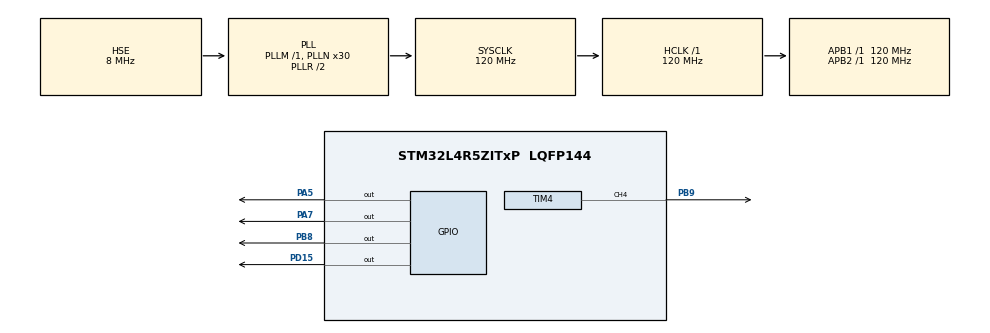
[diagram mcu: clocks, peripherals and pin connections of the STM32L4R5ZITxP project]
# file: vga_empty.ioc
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Dma.Request0=TIM4_UP
Dma.Request1=TIM2_UP
Dma.TIM2_UP.1.Direction=DMA_MEMORY_TO_PERIPH
Dma.TIM2_UP.1.EventEnable=DISABLE
Dma.TIM2_UP.1.Instance=DMA1_Channel2
Dma.TIM2_UP.1.MemDataAlignment=DMA_MDATAALIGN_BYTE
Dma.TIM2_UP.1.MemInc=DMA_MINC_ENABLE
Dma.TIM2_UP.1.Mode=DMA_CIRCULAR
Dma.TIM2_UP.1.PeriphDataAlignment=DMA_PDATAALIGN_BYTE
Dma.TIM2_UP.1.PeriphInc=DMA_PINC_DISABLE
Dma.TIM2_UP.1.Polarity=HAL_DMAMUX_REQUEST_GEN_RISING
Dma.TIM2_UP.1.Priority=DMA_PRIORITY_VERY_HIGH
Dma.TIM2_UP.1.RequestNumber=1
Dma.TIM2_UP.1.SignalID=NONE
Dma.TIM2_UP.1.SyncEnable=DISABLE
Dma.TIM2_UP.1.SyncPolarity=HAL_DMAMUX_SYNC_NO_EVENT
Dma.TIM2_UP.1.SyncRequestNumber=1
Dma.TIM2_UP.1.SyncSignalID=NONE
Dma.TIM4_UP.0.Direction=DMA_MEMORY_TO_PERIPH
Dma.TIM4_UP.0.EventEnable=DISABLE
Dma.TIM4_UP.0.Instance=DMA1_Channel1
Dma.TIM4_UP.0.MemDataAlignment=DMA_MDATAALIGN_WORD
Dma.TIM4_UP.0.MemInc=DMA_MINC_DISABLE
Dma.TIM4_UP.0.Mode=DMA_CIRCULAR
Dma.TIM4_UP.0.PeriphDataAlignment=DMA_PDATAALIGN_WORD
Dma.TIM4_UP.0.PeriphInc=DMA_PINC_DISABLE
Dma.TIM4_UP.0.Polarity=HAL_DMAMUX_REQUEST_GEN_RISING
Dma.TIM4_UP.0.Priority=DMA_PRIORITY_VERY_HIGH
Dma.TIM4_UP.0.RequestNumber=1
Dma.TIM4_UP.0.SignalID=NONE
Dma.TIM4_UP.0.SyncEnable=DISABLE
Dma.TIM4_UP.0.SyncPolarity=HAL_DMAMUX_SYNC_NO_EVENT
Dma.TIM4_UP.0.SyncRequestNumber=1
Dma.TIM4_UP.0.SyncSignalID=NONE
Mcu.Family=STM32L4
Mcu.Name=STM32L4R5ZITxP
Mcu.Package=LQFP144
NVIC.DMA1_Channel1_IRQn=true\:0\:0\:false\:false\:true\:false\:true\:true
NVIC.DMA1_Channel2_IRQn=true\:0\:0\:false\:false\:true\:false\:true\:true
NVIC.PriorityGroup=NVIC_PRIORITYGROUP_4
NVIC.TIM4_IRQn=true\:0\:0\:false\:false\:true\:true\:true\:true
PA0.Signal=S_TIM2_CH1
PA1.Signal=ADCx_IN6
PA10.Signal=USB_OTG_FS_ID
PA13\ (JTMS/SWDIO).Signal=SYS_JTMS-SWDIO
PA14\ (JTCK/SWCLK).Signal=SYS_JTCK-SWCLK
PA3.Signal=ADCx_IN8
PA4.Signal=SPI1_NSS
PA5.GPIO_Speed=GPIO_SPEED_FREQ_VERY_HIGH
PA5.Signal=GPIO_Output
PA6.Signal=SPI1_MISO
PA7.GPIO_Speed=GPIO_SPEED_FREQ_VERY_HIGH
PA7.Signal=GPIO_Output
PA8.Signal=USB_OTG_FS_SOF
PA9.Signal=USB_OTG_FS_VBUS
PB0.Signal=S_TIM3_CH3
PB1.Signal=ADCx_IN16
PB10.Signal=S_TIM2_CH3
PB12.Signal=SAI2_FS_A
PB13.Signal=SAI2_SCK_A
PB14.Signal=S_TIM15_CH1
PB15.Signal=SAI2_SD_A
PB2.Signal=COMP1_INP
PB3\ (JTDO/TRACESWO).Signal=SPI3_SCK
PB4\ (NJTRST).Signal=SPI3_MISO
PB5.Signal=SPI3_MOSI
PB6.Signal=COMP2_INP
PB8.GPIO_Speed=GPIO_SPEED_FREQ_VERY_HIGH
PB8.Signal=GPIO_Output
PB9.Signal=S_TIM4_CH4
PC0.Signal=ADCx_IN1
PC1.Signal=ADCx_IN2
PC10.Signal=SDMMC1_D2
PC11.Signal=SDMMC1_D3
PC12.Signal=SDMMC1_CK
PC13.Signal=SYS_WKUP2
PC14-OSC32_IN\ (PC14).Signal=RCC_OSC32_IN
PC15-OSC32_OUT\ (PC15).Signal=RCC_OSC32_OUT
PC2.Signal=ADCx_IN3
PC3.Signal=ADCx_IN4
PC4.Signal=ADCx_IN13
PC5.Signal=ADCx_IN14
PC6.Signal=SAI2_MCLK_A
PC7.Signal=S_TIM3_CH2
PC8.Signal=SDMMC1_D0
PC9.Signal=SDMMC1_D1
PD0.Signal=CAN1_RX
PD14.Signal=S_TIM4_CH3
PD15.GPIO_Speed=GPIO_SPEED_FREQ_VERY_HIGH
PD15.Signal=GPIO_Output
PD2.Signal=SDMMC1_CMD
PD3.Signal=USART2_CTS
PD4.Signal=USART2_RTS
PD5.Signal=USART2_TX
PD6.Signal=USART2_RX
PD8.Signal=USART3_TX
PD9.Signal=USART3_RX
PE0.Signal=S_TIM4_ETR
PE10.Signal=TIM1_CH2N
PE11.Signal=S_TIM1_CH2
PE12.Signal=TIM1_CH3N
PE13.Signal=S_TIM1_CH3
PE14.Signal=TIM1_BKIN2
PE15.Signal=TIM1_BKIN
PE2.Signal=SAI1_MCLK_A
PE3.Signal=SAI1_SD_B
PE7.Signal=S_TIM1_ETR
PE8.Signal=TIM1_CH1N
PE9.Signal=S_TIM1_CH1
PF0.Signal=I2C2_SDA
PF1.Signal=I2C2_SCL
PF2.Signal=I2C2_SMBA
PF7.Signal=SAI1_MCLK_B
PG7.Signal=LPUART1_TX
PG8.Signal=LPUART1_RX
PH0-OSC_IN\ (PH0).Signal=RCC_OSC_IN
PH1-OSC_OUT\ (PH1).Signal=RCC_OSC_OUT
ProjectManager.HeapSize=0x200
ProjectManager.StackSize=0x400
ProjectManager.TargetToolchain=STM32CubeIDE
RCC.ADCFreq_Value=64000000
RCC.AHBFreq_Value=120000000
RCC.APB1Freq_Value=120000000
RCC.APB1TimFreq_Value=120000000
RCC.APB2Freq_Value=120000000
RCC.APB2TimFreq_Value=120000000
RCC.CortexFreq_Value=120000000
RCC.HCLKFreq_Value=120000000
RCC.HSE_VALUE=8000000
RCC.HSI48_VALUE=48000000
RCC.HSI_VALUE=16000000
RCC.LSE_VALUE=32768
RCC.MSI_VALUE=4000000
RCC.PLLN=15
RCC.PLLSourceVirtual=RCC_PLLSOURCE_HSI
RCC.SYSCLKFreq_VALUE=120000000
RCC.SYSCLKSource=RCC_SYSCLKSOURCE_PLLCLK
RCC.USBFreq_Value=64000000
RCC.VCOOutputFreq_Value=240000000
SH.ADCx_IN1.0=ADC1_IN1
SH.ADCx_IN13.0=ADC1_IN13
SH.ADCx_IN14.0=ADC1_IN14
SH.ADCx_IN16.0=ADC1_IN16
SH.ADCx_IN2.0=ADC1_IN2
SH.ADCx_IN3.0=ADC1_IN3
SH.ADCx_IN4.0=ADC1_IN4
SH.ADCx_IN6.0=ADC1_IN6
SH.ADCx_IN8.0=ADC1_IN8
SH.S_TIM15_CH1.0=TIM15_CH1
SH.S_TIM1_CH1.0=TIM1_CH1
SH.S_TIM1_CH2.0=TIM1_CH2
SH.S_TIM1_CH3.0=TIM1_CH3
SH.S_TIM1_ETR.0=TIM1_ETR
SH.S_TIM2_CH1.0=TIM2_CH1
SH.S_TIM2_CH3.0=TIM2_CH3
SH.S_TIM3_CH2.0=TIM3_CH2
SH.S_TIM3_CH3.0=TIM3_CH3
SH.S_TIM4_CH3.0=TIM4_CH3
SH.S_TIM4_CH4.0=TIM4_CH4,PWM Generation4 CH4
SH.S_TIM4_ETR.0=TIM4_ETR
TIM2.Period=23
TIM4.Channel-PWM\ Generation4\ CH4=TIM_CHANNEL_4
TIM4.Period=3167
VP_TIM2_VS_ClockSourceINT.Mode=Internal
board=NUCLEO-L4R5ZI-P

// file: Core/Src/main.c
/* USER CODE BEGIN Header */
/**
  ******************************************************************************
  * @file           : main.c
  * @brief          : Main program body
  ******************************************************************************
  * @attention
  *
  * Copyright (c) 2026 STMicroelectronics.
  * All rights reserved.
  *
  * This software is licensed under terms that can be found in the LICENSE file
  * in the root directory of this software component.
  * If no LICENSE file comes with this software, it is provided AS-IS.
  *
  ******************************************************************************
  */
/* USER CODE END Header */
#include "main.h"

/* USER CODE BEGIN Includes */
#include "vga_graphics.h"

/* USER CODE END Includes */

/* USER CODE BEGIN PD */
#define VGA_VSYNC_PORT GPIOB
#define VGA_VSYNC_PIN  GPIO_PIN_8
#define HSYNC_PULSE_TICKS 384U

/* USER CODE END PD */

TIM_HandleTypeDef htim2;
TIM_HandleTypeDef htim4;
DMA_HandleTypeDef hdma_tim2_up;

void SystemClock_Config(void);
static void MX_GPIO_Init(void);
static void MX_DMA_Init(void);
static void MX_TIM2_Init(void);
static void MX_TIM4_Init(void);
/* USER CODE BEGIN PFP */
static void VGA_InitTestPatternBuffers(void);
static void VGA_StartVideo(void);
static const uint32_t *VGA_GetVisibleLineBuffer(uint16_t line);

/* USER CODE END PFP */

/* USER CODE BEGIN 0 */
#define COLOR_BLACK VGA_COLOR_BLACK
#define COLOR_RED VGA_COLOR_RED
#define COLOR_GREEN VGA_COLOR_GREEN
#define COLOR_YELLOW VGA_COLOR_YELLOW

#define H_SYNC VGA_H_SYNC
#define H_BACKPORCH VGA_H_BACKPORCH
#define H_VISIBLE VGA_H_VISIBLE
#define H_FRONTPORCH VGA_H_FRONTPORCH
#define H_PIXEL VGA_H_PIXEL
#define H_VISIBLE_START VGA_H_VISIBLE_START
#define H_VISIBLE_END VGA_H_VISIBLE_END

#define V_SYNC_LINES VGA_V_SYNC_LINES
#define V_BACKPORCH_LINES VGA_V_BACKPORCH_LINES
#define V_VISIBLE_LINES VGA_V_VISIBLE_LINES
#define V_FRONTPORCH_LINES VGA_V_FRONTPORCH_LINES
#define V_TOTAL_LINES VGA_V_TOTAL_LINES
#define V_VISIBLE_LINE_START VGA_V_VISIBLE_LINE_START
#define V_VISIBLE_LINE_END VGA_V_VISIBLE_LINE_END

#define VGA_USE_HSE_BYPASS_CLOCK 0U /* Set to 1 only after routing the Nucleo HSE input to ST-LINK MCO. */
#define H_PHASE_OFFSET_SAMPLES 0
#define VGA_USE_TIM2_HARD_SYNC 0U
#define TIM2_LINE_SYNC_TRIGGER TIM_TS_ITR3

volatile uint16_t current_line = 0;
static const uint32_t *active_line_src = 0;
/* USER CODE END 0 */

int main(void)
{

  /* MCU Configuration--------------------------------------------------------*/

  /* Reset of all peripherals, Initializes the Flash interface and the Systick. */
  HAL_Init();

  /* Configure the system clock */
  SystemClock_Config();

  /* Initialize all configured peripherals */
  MX_GPIO_Init();
  MX_DMA_Init();
  MX_TIM2_Init();
  MX_TIM4_Init();
  /* USER CODE BEGIN 2 */
  VGA_InitTestPatternBuffers();
  VGA_StartVideo();

  /* USER CODE END 2 */

  /* Infinite loop */
  while (1)
  {

  }
}

void SystemClock_Config(void)
{
  RCC_OscInitTypeDef RCC_OscInitStruct = {0};
  RCC_ClkInitTypeDef RCC_ClkInitStruct = {0};

  /** Configure the main internal regulator output voltage
  */
  if (HAL_PWREx_ControlVoltageScaling(PWR_REGULATOR_VOLTAGE_SCALE1_BOOST) != HAL_OK)
  {
    Error_Handler();
  }

  /** Initializes the RCC Oscillators according to the specified parameters
  * in the RCC_OscInitTypeDef structure.
  */
#if VGA_USE_HSE_BYPASS_CLOCK
  RCC_OscInitStruct.OscillatorType = RCC_OSCILLATORTYPE_HSE;
  RCC_OscInitStruct.HSEState = RCC_HSE_BYPASS;
  RCC_OscInitStruct.PLL.PLLSource = RCC_PLLSOURCE_HSE;
  RCC_OscInitStruct.PLL.PLLM = 1;
  RCC_OscInitStruct.PLL.PLLN = 30;
#else
  RCC_OscInitStruct.OscillatorType = RCC_OSCILLATORTYPE_HSI;
  RCC_OscInitStruct.HSIState = RCC_HSI_ON;
  RCC_OscInitStruct.HSICalibrationValue = RCC_HSICALIBRATION_DEFAULT;
  RCC_OscInitStruct.PLL.PLLSource = RCC_PLLSOURCE_HSI;
  RCC_OscInitStruct.PLL.PLLM = 1;
  RCC_OscInitStruct.PLL.PLLN = 15;
#endif
  RCC_OscInitStruct.PLL.PLLState = RCC_PLL_ON;
  RCC_OscInitStruct.PLL.PLLP = RCC_PLLP_DIV2;
  RCC_OscInitStruct.PLL.PLLQ = RCC_PLLQ_DIV2;
  RCC_OscInitStruct.PLL.PLLR = RCC_PLLR_DIV2;
  if (HAL_RCC_OscConfig(&RCC_OscInitStruct) != HAL_OK)
  {
    Error_Handler();
  }

  /** Initializes the CPU, AHB and APB buses clocks
  */
  RCC_ClkInitStruct.ClockType = RCC_CLOCKTYPE_HCLK|RCC_CLOCKTYPE_SYSCLK
                              |RCC_CLOCKTYPE_PCLK1|RCC_CLOCKTYPE_PCLK2;
  RCC_ClkInitStruct.SYSCLKSource = RCC_SYSCLKSOURCE_PLLCLK;
  RCC_ClkInitStruct.AHBCLKDivider = RCC_SYSCLK_DIV1;
  RCC_ClkInitStruct.APB1CLKDivider = RCC_HCLK_DIV1;
  RCC_ClkInitStruct.APB2CLKDivider = RCC_HCLK_DIV1;

  if (HAL_RCC_ClockConfig(&RCC_ClkInitStruct, FLASH_LATENCY_5) != HAL_OK)
  {
    Error_Handler();
  }
}

static void MX_TIM2_Init(void)
{

  TIM_ClockConfigTypeDef sClockSourceConfig = {0};
  TIM_MasterConfigTypeDef sMasterConfig = {0};
#if VGA_USE_TIM2_HARD_SYNC
  TIM_SlaveConfigTypeDef sSlaveConfig = {0};
#endif

  htim2.Instance = TIM2;
  htim2.Init.Prescaler = 0;
  htim2.Init.CounterMode = TIM_COUNTERMODE_UP;
  htim2.Init.Period = 23;
  htim2.Init.ClockDivision = TIM_CLOCKDIVISION_DIV1;
  htim2.Init.AutoReloadPreload = TIM_AUTORELOAD_PRELOAD_DISABLE;
  if (HAL_TIM_Base_Init(&htim2) != HAL_OK)
  {
    Error_Handler();
  }
  sClockSourceConfig.ClockSource = TIM_CLOCKSOURCE_INTERNAL;
  if (HAL_TIM_ConfigClockSource(&htim2, &sClockSourceConfig) != HAL_OK)
  {
    Error_Handler();
  }
#if VGA_USE_TIM2_HARD_SYNC
  /*
   * Optional hardware line-start alignment:
   * if the chosen ITR mapping is wrong on this board, TIM2 can fail to produce
   * visible output. Keep it switchable for bring-up.
   */
  sSlaveConfig.SlaveMode = TIM_SLAVEMODE_RESET;
  sSlaveConfig.InputTrigger = TIM2_LINE_SYNC_TRIGGER;
  if (HAL_TIM_SlaveConfigSynchro(&htim2, &sSlaveConfig) != HAL_OK)
  {
    Error_Handler();
  }
#endif
  sMasterConfig.MasterOutputTrigger = TIM_TRGO_RESET;
  sMasterConfig.MasterSlaveMode = TIM_MASTERSLAVEMODE_DISABLE;
  if (HAL_TIMEx_MasterConfigSynchronization(&htim2, &sMasterConfig) != HAL_OK)
  {
    Error_Handler();
  }

}

static void MX_TIM4_Init(void)
{

  TIM_MasterConfigTypeDef sMasterConfig = {0};
  TIM_OC_InitTypeDef sConfigOC = {0};

  htim4.Instance = TIM4;
  htim4.Init.Prescaler = 0;
  htim4.Init.CounterMode = TIM_COUNTERMODE_UP;
  htim4.Init.Period = 3167;
  htim4.Init.ClockDivision = TIM_CLOCKDIVISION_DIV1;
  htim4.Init.AutoReloadPreload = TIM_AUTORELOAD_PRELOAD_DISABLE;
  if (HAL_TIM_PWM_Init(&htim4) != HAL_OK)
  {
    Error_Handler();
  }
  sMasterConfig.MasterOutputTrigger = TIM_TRGO_UPDATE;
  sMasterConfig.MasterSlaveMode = TIM_MASTERSLAVEMODE_DISABLE;
  if (HAL_TIMEx_MasterConfigSynchronization(&htim4, &sMasterConfig) != HAL_OK)
  {
    Error_Handler();
  }
  sConfigOC.OCMode = TIM_OCMODE_PWM1;
  sConfigOC.Pulse = 0;
  sConfigOC.OCPolarity = TIM_OCPOLARITY_HIGH;
  sConfigOC.OCFastMode = TIM_OCFAST_DISABLE;
  if (HAL_TIM_PWM_ConfigChannel(&htim4, &sConfigOC, TIM_CHANNEL_4) != HAL_OK)
  {
    Error_Handler();
  }
  HAL_TIM_MspPostInit(&htim4);

}

static void MX_DMA_Init(void)
{

  /* DMA controller clock enable */
  __HAL_RCC_DMAMUX1_CLK_ENABLE();
  __HAL_RCC_DMA1_CLK_ENABLE();

  /* DMA interrupt init */
  /* DMA1_Channel2_IRQn interrupt configuration */
  HAL_NVIC_SetPriority(DMA1_Channel2_IRQn, 0, 0);
  HAL_NVIC_EnableIRQ(DMA1_Channel2_IRQn);

}

static void MX_GPIO_Init(void)
{
  GPIO_InitTypeDef GPIO_InitStruct = {0};

  /* GPIO Ports Clock Enable */
  __HAL_RCC_GPIOE_CLK_ENABLE();
  __HAL_RCC_GPIOC_CLK_ENABLE();
  __HAL_RCC_GPIOF_CLK_ENABLE();
  __HAL_RCC_GPIOH_CLK_ENABLE();
  __HAL_RCC_GPIOA_CLK_ENABLE();
  __HAL_RCC_GPIOB_CLK_ENABLE();
  __HAL_RCC_GPIOD_CLK_ENABLE();
  __HAL_RCC_GPIOG_CLK_ENABLE();
  HAL_PWREx_EnableVddIO2();

  /*Configure GPIO pin Output Level */
  HAL_GPIO_WritePin(GPIOA, GPIO_PIN_5|GPIO_PIN_7, GPIO_PIN_RESET);

  /*Configure GPIO pin Output Level */
  HAL_GPIO_WritePin(GPIOD, GPIO_PIN_15, GPIO_PIN_RESET);

  /*Configure GPIO pin Output Level */
  HAL_GPIO_WritePin(GPIOB, GPIO_PIN_8, GPIO_PIN_RESET);

  /*Configure GPIO pins : PE2 PE3 */
  GPIO_InitStruct.Pin = GPIO_PIN_2|GPIO_PIN_3;
  GPIO_InitStruct.Mode = GPIO_MODE_AF_PP;
  GPIO_InitStruct.Pull = GPIO_NOPULL;
  GPIO_InitStruct.Speed = GPIO_SPEED_FREQ_LOW;
  GPIO_InitStruct.Alternate = GPIO_AF13_SAI1;
  HAL_GPIO_Init(GPIOE, &GPIO_InitStruct);

  /*Configure GPIO pins : PF0 PF1 PF2 */
  GPIO_InitStruct.Pin = GPIO_PIN_0|GPIO_PIN_1|GPIO_PIN_2;
  GPIO_InitStruct.Mode = GPIO_MODE_AF_OD;
  GPIO_InitStruct.Pull = GPIO_NOPULL;
  GPIO_InitStruct.Speed = GPIO_SPEED_FREQ_VERY_HIGH;
  GPIO_InitStruct.Alternate = GPIO_AF4_I2C2;
  HAL_GPIO_Init(GPIOF, &GPIO_InitStruct);

  /*Configure GPIO pin : PF7 */
  GPIO_InitStruct.Pin = GPIO_PIN_7;
  GPIO_InitStruct.Mode = GPIO_MODE_AF_PP;
  GPIO_InitStruct.Pull = GPIO_NOPULL;
  GPIO_InitStruct.Speed = GPIO_SPEED_FREQ_LOW;
  GPIO_InitStruct.Alternate = GPIO_AF13_SAI1;
  HAL_GPIO_Init(GPIOF, &GPIO_InitStruct);

  /*Configure GPIO pins : PC0 PC1 PC2 PC3
                           PC4 PC5 */
  GPIO_InitStruct.Pin = GPIO_PIN_0|GPIO_PIN_1|GPIO_PIN_2|GPIO_PIN_3
                          |GPIO_PIN_4|GPIO_PIN_5;
  GPIO_InitStruct.Mode = GPIO_MODE_ANALOG_ADC_CONTROL;
  GPIO_InitStruct.Pull = GPIO_NOPULL;
  HAL_GPIO_Init(GPIOC, &GPIO_InitStruct);

  /*Configure GPIO pins : PA1 PA3 */
  GPIO_InitStruct.Pin = GPIO_PIN_1|GPIO_PIN_3;
  GPIO_InitStruct.Mode = GPIO_MODE_ANALOG_ADC_CONTROL;
  GPIO_InitStruct.Pull = GPIO_NOPULL;
  HAL_GPIO_Init(GPIOA, &GPIO_InitStruct);

  /*Configure GPIO pins : PA4 PA6 */
  GPIO_InitStruct.Pin = GPIO_PIN_4|GPIO_PIN_6;
  GPIO_InitStruct.Mode = GPIO_MODE_AF_PP;
  GPIO_InitStruct.Pull = GPIO_NOPULL;
  GPIO_InitStruct.Speed = GPIO_SPEED_FREQ_VERY_HIGH;
  GPIO_InitStruct.Alternate = GPIO_AF5_SPI1;
  HAL_GPIO_Init(GPIOA, &GPIO_InitStruct);

  /*Configure GPIO pins : PA5 PA7 */
  GPIO_InitStruct.Pin = GPIO_PIN_5|GPIO_PIN_7;
  GPIO_InitStruct.Mode = GPIO_MODE_OUTPUT_PP;
  GPIO_InitStruct.Pull = GPIO_NOPULL;
  GPIO_InitStruct.Speed = GPIO_SPEED_FREQ_VERY_HIGH;
  HAL_GPIO_Init(GPIOA, &GPIO_InitStruct);

  /*Configure GPIO pin : PB0 */
  GPIO_InitStruct.Pin = GPIO_PIN_0;
  GPIO_InitStruct.Mode = GPIO_MODE_AF_PP;
  GPIO_InitStruct.Pull = GPIO_NOPULL;
  GPIO_InitStruct.Speed = GPIO_SPEED_FREQ_LOW;
  GPIO_InitStruct.Alternate = GPIO_AF2_TIM3;
  HAL_GPIO_Init(GPIOB, &GPIO_InitStruct);

  /*Configure GPIO pin : PB1 */
  GPIO_InitStruct.Pin = GPIO_PIN_1;
  GPIO_InitStruct.Mode = GPIO_MODE_ANALOG_ADC_CONTROL;
  GPIO_InitStruct.Pull = GPIO_NOPULL;
  HAL_GPIO_Init(GPIOB, &GPIO_InitStruct);

  /*Configure GPIO pins : PB2 PB6 */
  GPIO_InitStruct.Pin = GPIO_PIN_2|GPIO_PIN_6;
  GPIO_InitStruct.Mode = GPIO_MODE_ANALOG;
  GPIO_InitStruct.Pull = GPIO_NOPULL;
  HAL_GPIO_Init(GPIOB, &GPIO_InitStruct);

  /*Configure GPIO pins : PE7 PE8 PE9 PE10
                           PE11 PE12 PE13 */
  GPIO_InitStruct.Pin = GPIO_PIN_7|GPIO_PIN_8|GPIO_PIN_9|GPIO_PIN_10
                          |GPIO_PIN_11|GPIO_PIN_12|GPIO_PIN_13;
  GPIO_InitStruct.Mode = GPIO_MODE_AF_PP;
  GPIO_InitStruct.Pull = GPIO_NOPULL;
  GPIO_InitStruct.Speed = GPIO_SPEED_FREQ_LOW;
  GPIO_InitStruct.Alternate = GPIO_AF1_TIM1;
  HAL_GPIO_Init(GPIOE, &GPIO_InitStruct);

  /*Configure GPIO pins : PE14 PE15 */
  GPIO_InitStruct.Pin = GPIO_PIN_14|GPIO_PIN_15;
  GPIO_InitStruct.Mode = GPIO_MODE_AF_PP;
  GPIO_InitStruct.Pull = GPIO_NOPULL;
  GPIO_InitStruct.Speed = GPIO_SPEED_FREQ_LOW;
  GPIO_InitStruct.Alternate = GPIO_AF3_TIM1_COMP1;
  HAL_GPIO_Init(GPIOE, &GPIO_InitStruct);

  /*Configure GPIO pins : PB12 PB13 PB15 */
  GPIO_InitStruct.Pin = GPIO_PIN_12|GPIO_PIN_13|GPIO_PIN_15;
  GPIO_InitStruct.Mode = GPIO_MODE_AF_PP;
  GPIO_InitStruct.Pull = GPIO_NOPULL;
  GPIO_InitStruct.Speed = GPIO_SPEED_FREQ_LOW;
  GPIO_InitStruct.Alternate = GPIO_AF13_SAI2;
  HAL_GPIO_Init(GPIOB, &GPIO_InitStruct);

  /*Configure GPIO pin : PB14 */
  GPIO_InitStruct.Pin = GPIO_PIN_14;
  GPIO_InitStruct.Mode = GPIO_MODE_AF_PP;
  GPIO_InitStruct.Pull = GPIO_NOPULL;
  GPIO_InitStruct.Speed = GPIO_SPEED_FREQ_LOW;
  GPIO_InitStruct.Alternate = GPIO_AF14_TIM15;
  HAL_GPIO_Init(GPIOB, &GPIO_InitStruct);

  /*Configure GPIO pins : PD8 PD9 */
  GPIO_InitStruct.Pin = GPIO_PIN_8|GPIO_PIN_9;
  GPIO_InitStruct.Mode = GPIO_MODE_AF_PP;
  GPIO_InitStruct.Pull = GPIO_NOPULL;
  GPIO_InitStruct.Speed = GPIO_SPEED_FREQ_VERY_HIGH;
  GPIO_InitStruct.Alternate = GPIO_AF7_USART3;
  HAL_GPIO_Init(GPIOD, &GPIO_InitStruct);

  /*Configure GPIO pin : PD15 */
  GPIO_InitStruct.Pin = GPIO_PIN_15;
  GPIO_InitStruct.Mode = GPIO_MODE_OUTPUT_PP;
  GPIO_InitStruct.Pull = GPIO_NOPULL;
  GPIO_InitStruct.Speed = GPIO_SPEED_FREQ_VERY_HIGH;
  HAL_GPIO_Init(GPIOD, &GPIO_InitStruct);

  /*Configure GPIO pins : PG7 PG8 */
  GPIO_InitStruct.Pin = GPIO_PIN_7|GPIO_PIN_8;
  GPIO_InitStruct.Mode = GPIO_MODE_AF_PP;
  GPIO_InitStruct.Pull = GPIO_NOPULL;
  GPIO_InitStruct.Speed = GPIO_SPEED_FREQ_VERY_HIGH;
  GPIO_InitStruct.Alternate = GPIO_AF8_LPUART1;
  HAL_GPIO_Init(GPIOG, &GPIO_InitStruct);

  /*Configure GPIO pin : PC6 */
  GPIO_InitStruct.Pin = GPIO_PIN_6;
  GPIO_InitStruct.Mode = GPIO_MODE_AF_PP;
  GPIO_InitStruct.Pull = GPIO_NOPULL;
  GPIO_InitStruct.Speed = GPIO_SPEED_FREQ_LOW;
  GPIO_InitStruct.Alternate = GPIO_AF13_SAI2;
  HAL_GPIO_Init(GPIOC, &GPIO_InitStruct);

  /*Configure GPIO pin : PC7 */
  GPIO_InitStruct.Pin = GPIO_PIN_7;
  GPIO_InitStruct.Mode = GPIO_MODE_AF_PP;
  GPIO_InitStruct.Pull = GPIO_NOPULL;
  GPIO_InitStruct.Speed = GPIO_SPEED_FREQ_LOW;
  GPIO_InitStruct.Alternate = GPIO_AF2_TIM3;
  HAL_GPIO_Init(GPIOC, &GPIO_InitStruct);

  /*Configure GPIO pins : PC8 PC9 PC10 PC11
                           PC12 */
  GPIO_InitStruct.Pin = GPIO_PIN_8|GPIO_PIN_9|GPIO_PIN_10|GPIO_PIN_11
                          |GPIO_PIN_12;
  GPIO_InitStruct.Mode = GPIO_MODE_AF_PP;
  GPIO_InitStruct.Pull = GPIO_NOPULL;
  GPIO_InitStruct.Speed = GPIO_SPEED_FREQ_VERY_HIGH;
  GPIO_InitStruct.Alternate = GPIO_AF12_SDMMC1;
  HAL_GPIO_Init(GPIOC, &GPIO_InitStruct);

  /*Configure GPIO pins : PA8 PA10 */
  GPIO_InitStruct.Pin = GPIO_PIN_8|GPIO_PIN_10;
  GPIO_InitStruct.Mode = GPIO_MODE_AF_PP;
  GPIO_InitStruct.Pull = GPIO_NOPULL;
  GPIO_InitStruct.Speed = GPIO_SPEED_FREQ_VERY_HIGH;
  GPIO_InitStruct.Alternate = GPIO_AF10_OTG_FS;
  HAL_GPIO_Init(GPIOA, &GPIO_InitStruct);

  /*Configure GPIO pin : PA9 */
  GPIO_InitStruct.Pin = GPIO_PIN_9;
  GPIO_InitStruct.Mode = GPIO_MODE_INPUT;
  GPIO_InitStruct.Pull = GPIO_NOPULL;
  HAL_GPIO_Init(GPIOA, &GPIO_InitStruct);

  /*Configure GPIO pin : PD0 */
  GPIO_InitStruct.Pin = GPIO_PIN_0;
  GPIO_InitStruct.Mode = GPIO_MODE_AF_PP;
  GPIO_InitStruct.Pull = GPIO_NOPULL;
  GPIO_InitStruct.Speed = GPIO_SPEED_FREQ_VERY_HIGH;
  GPIO_InitStruct.Alternate = GPIO_AF9_CAN1;
  HAL_GPIO_Init(GPIOD, &GPIO_InitStruct);

  /*Configure GPIO pin : PD2 */
  GPIO_InitStruct.Pin = GPIO_PIN_2;
  GPIO_InitStruct.Mode = GPIO_MODE_AF_PP;
  GPIO_InitStruct.Pull = GPIO_NOPULL;
  GPIO_InitStruct.Speed = GPIO_SPEED_FREQ_VERY_HIGH;
  GPIO_InitStruct.Alternate = GPIO_AF12_SDMMC1;
  HAL_GPIO_Init(GPIOD, &GPIO_InitStruct);

  /*Configure GPIO pins : PD3 PD4 PD5 PD6 */
  GPIO_InitStruct.Pin = GPIO_PIN_3|GPIO_PIN_4|GPIO_PIN_5|GPIO_PIN_6;
  GPIO_InitStruct.Mode = GPIO_MODE_AF_PP;
  GPIO_InitStruct.Pull = GPIO_NOPULL;
  GPIO_InitStruct.Speed = GPIO_SPEED_FREQ_VERY_HIGH;
  GPIO_InitStruct.Alternate = GPIO_AF7_USART2;
  HAL_GPIO_Init(GPIOD, &GPIO_InitStruct);

  /*Configure GPIO pins : PB3 PB4 PB5 */
  GPIO_InitStruct.Pin = GPIO_PIN_3|GPIO_PIN_4|GPIO_PIN_5;
  GPIO_InitStruct.Mode = GPIO_MODE_AF_PP;
  GPIO_InitStruct.Pull = GPIO_NOPULL;
  GPIO_InitStruct.Speed = GPIO_SPEED_FREQ_VERY_HIGH;
  GPIO_InitStruct.Alternate = GPIO_AF6_SPI3;
  HAL_GPIO_Init(GPIOB, &GPIO_InitStruct);

  /*Configure GPIO pin : PB8 */
  GPIO_InitStruct.Pin = GPIO_PIN_8;
  GPIO_InitStruct.Mode = GPIO_MODE_OUTPUT_PP;
  GPIO_InitStruct.Pull = GPIO_NOPULL;
  GPIO_InitStruct.Speed = GPIO_SPEED_FREQ_VERY_HIGH;
  HAL_GPIO_Init(GPIOB, &GPIO_InitStruct);

}

/* USER CODE BEGIN 4 */
static void VGA_InitTestPatternBuffers(void)
{
  VgaGfx_Init(H_PHASE_OFFSET_SAMPLES);
  VgaGfx_Clear(COLOR_BLACK);

  VgaGfx_DrawRect(2, 2, (int16_t)(H_VISIBLE - 4), (int16_t)(V_VISIBLE_LINES - 4), COLOR_GREEN);
  VgaGfx_FillRect(8, 60, 18, 140, COLOR_RED);
  VgaGfx_FillRect((int16_t)(H_VISIBLE - 26), 60, 18, 140, COLOR_GREEN);
  VgaGfx_FillRect(20, (int16_t)(V_VISIBLE_LINES - 110), 60, 24, COLOR_YELLOW);
  VgaGfx_DrawLine(10, 240, (int16_t)(H_VISIBLE - 11), 320, COLOR_RED);
  VgaGfx_DrawLine(10, 320, (int16_t)(H_VISIBLE - 11), 240, COLOR_GREEN);
  VgaGfx_DrawSimpleEmoji((int16_t)(H_VISIBLE / 2), (int16_t)(V_VISIBLE_LINES / 2), 18);
}

static const uint32_t *VGA_GetVisibleLineBuffer(uint16_t line)
{
  return VgaGfx_GetVisibleLineBuffer((uint16_t)(line - V_VISIBLE_LINE_START));
}

static void VGA_StartVideo(void)
{
  current_line = (uint16_t)(V_TOTAL_LINES - 1U);
  VGA_VSYNC_PORT->BSRR = (uint32_t)VGA_VSYNC_PIN << 16U;
  HAL_GPIO_WritePin(GPIOD, GPIO_PIN_15, GPIO_PIN_RESET);
  __HAL_TIM_SET_COUNTER(&htim2, 0U);
  __HAL_TIM_SET_COMPARE(&htim4, TIM_CHANNEL_4, HSYNC_PULSE_TICKS);

  active_line_src = VgaGfx_GetBlankLineBuffer();
  if (HAL_DMA_Start(&hdma_tim2_up, (uint32_t)active_line_src, (uint32_t)&GPIOA->BSRR, H_PIXEL) != HAL_OK)
  {
    Error_Handler();
  }

  __HAL_TIM_ENABLE_DMA(&htim2, TIM_DMA_UPDATE);

  if (HAL_TIM_PWM_Start(&htim4, TIM_CHANNEL_4) != HAL_OK)
  {
    Error_Handler();
  }

  if (HAL_TIM_Base_Start(&htim2) != HAL_OK)
  {
    Error_Handler();
  }

  __HAL_TIM_CLEAR_IT(&htim4, TIM_IT_UPDATE);
  __HAL_TIM_ENABLE_IT(&htim4, TIM_IT_UPDATE);
}

void HAL_TIM_PeriodElapsedCallback(TIM_HandleTypeDef *htim)
{
  if (htim->Instance != TIM4)
  {
    return;
  }

  current_line++;
  if (current_line >= V_TOTAL_LINES)
  {
    current_line = 0U;
  }

  if (current_line == 0U)
  {
    VGA_VSYNC_PORT->BSRR = VGA_VSYNC_PIN;
  }
  else if (current_line == V_SYNC_LINES)
  {
    VGA_VSYNC_PORT->BSRR = (uint32_t)VGA_VSYNC_PIN << 16U;
  }

  if ((current_line >= V_VISIBLE_LINE_START) && (current_line < V_VISIBLE_LINE_END))
  {
    const uint32_t *next_line_src;

    next_line_src = VGA_GetVisibleLineBuffer(current_line);
    if (active_line_src != next_line_src)
    {
      active_line_src = next_line_src;
      hdma_tim2_up.Instance->CMAR = (uint32_t)active_line_src;
    }
  }
  else if (active_line_src != VgaGfx_GetBlankLineBuffer())
  {
    active_line_src = VgaGfx_GetBlankLineBuffer();
    hdma_tim2_up.Instance->CMAR = (uint32_t)active_line_src;
  }
}

/* USER CODE END 4 */

void Error_Handler(void)
{
  __disable_irq();
  while (1)
  {
  }
}
